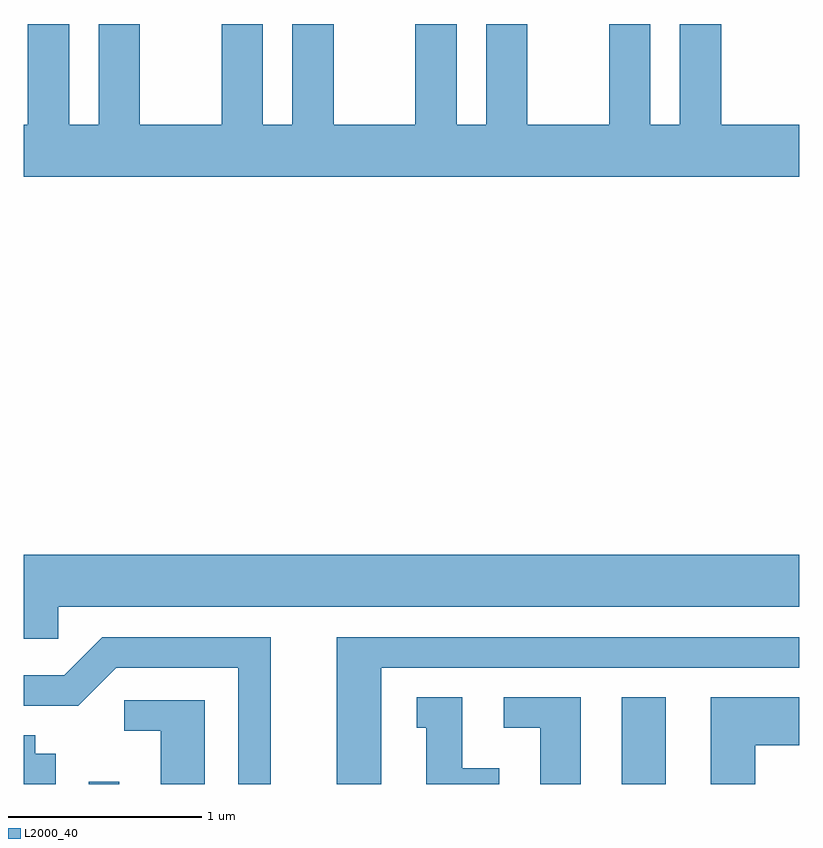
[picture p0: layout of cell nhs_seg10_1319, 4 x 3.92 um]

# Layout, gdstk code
import gdstk
lib = gdstk.Library(unit=1e-6, precision=1e-09)
def R(c, l, rs):  # rectangles x0, y0, x1, y1
    for r in rs: c.add(gdstk.rectangle(r[:2], r[2:], *l))
def P(c, l, *ps):  # polygons
    for p in ps: c.add(gdstk.Polygon(p, *l))
L2000_40 = (2000, 40)

nhs_seg10_1319 = lib.new_cell('nhs_seg10_1319')
R(nhs_seg10_1319, L2000_40, [(223.946,2148.522,224.104,2148.533), (226.696,2148.522,226.924,2148.969)])
P(nhs_seg10_1319, L2000_40, [(227.611,2151.924),(227.209,2151.924),(227.209,2152.444),(226.996,2152.444),(226.996,2151.924),(226.844,2151.924),(226.844,2152.444),(226.631,2152.444),(226.631,2151.924),(226.209,2151.924),(226.209,2152.444),(225.996,2152.444),(225.996,2151.924),(225.844,2151.924),(225.844,2152.444),(225.631,2152.444),(225.631,2151.924),(225.209,2151.924),(225.209,2152.444),(224.996,2152.444),(224.996,2151.924),(224.844,2151.924),(224.844,2152.444),(224.631,2152.444),(224.631,2151.924),(224.209,2151.924),(224.209,2152.444),(223.996,2152.444),(223.996,2151.924),(223.844,2151.924),(223.844,2152.444),(223.631,2152.444),(223.631,2151.924),(223.611,2151.924),(223.611,2151.656),(227.611,2151.656)],
  [(223.789,2149.436),(227.611,2149.436),(227.611,2149.704),(223.611,2149.704),(223.611,2149.271),(223.789,2149.271)],
  [(225.454,2149.121),(227.611,2149.121),(227.611,2149.279),(225.226,2149.279),(225.226,2148.522),(225.454,2148.522)],
  [(224.884,2149.279),(224.014,2149.279),(223.819,2149.084),(223.611,2149.084),(223.611,2148.926),(223.892,2148.926),(224.087,2149.121),(224.716,2149.121),(224.716,2148.522),(224.884,2148.522)],
  [(226.484,2148.969),(226.088,2148.969),(226.088,2148.811),(226.276,2148.811),(226.276,2148.522),(226.484,2148.522)],
  [(226.064,2148.604),(225.874,2148.604),(225.874,2148.969),(225.638,2148.969),(225.638,2148.811),(225.686,2148.811),(225.686,2148.522),(226.064,2148.522)],
  [(227.384,2148.721),(227.611,2148.721),(227.611,2148.969),(227.156,2148.969),(227.156,2148.522),(227.384,2148.522)],
  [(224.544,2148.954),(224.128,2148.954),(224.128,2148.796),(224.316,2148.796),(224.316,2148.522),(224.544,2148.522)],
  [(223.774,2148.679),(223.669,2148.679),(223.669,2148.774),(223.611,2148.774),(223.611,2148.522),(223.774,2148.522)])

lib.write_gds('nhs_seg10_1319.gds')
